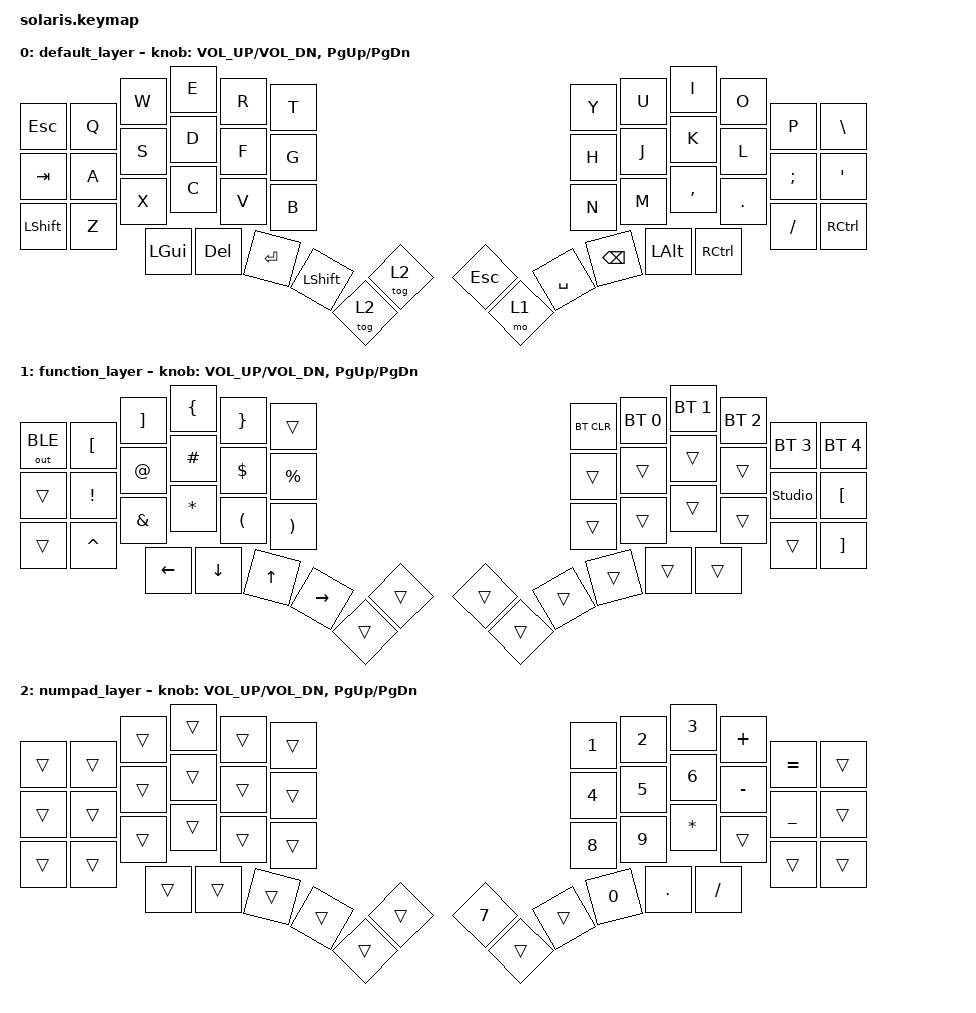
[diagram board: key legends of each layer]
/*
 * Copyright (c) 2023 The ZMK Contributors
 *
 * SPDX-License-Identifier: MIT
 */

#include <behaviors.dtsi>
#include <dt-bindings/zmk/bt.h>
#include <dt-bindings/zmk/keys.h>
#include <dt-bindings/zmk/outputs.h>


/* Uncomment this block if using RGB
&led_strip {
    chain-length = <6>;
    // chain-length = <31>; // Uncomment if using both per-key and underglow LEDs
    // chain-length = <25>; // Uncomment if using only per-key LEDs.
};
 */

/{
    keymap {
        compatible = "zmk,keymap";

        default_layer {
            // ---------------------------------------------------------------------------------------------------------------------------------
            // |  ESC  |  Q  |  W  |  E   |  R   |  T   |                                          |  Y   |  U    |  I    |  O   |   P   |   \  |
            // |  TAB  |  A  |  S  |  D   |  F   |  G   |                                          |  H   |  J    |  K    |  L   |   ;   |   '  |
            // | SHIFT |  Z  |  X  |  C   |  V   |  B   | L SHIFT | L SHIFT |  | LAYER 1 | L SHIFT |  N   |  M    |  ,    |  .   |   /   | CTRL  |
            //                     | GUI  | DEL  | RET  |  SPACE  |   ESC   |  |   RET   |  SPACE  | TAB  | BSPC  | R-ALT |
            bindings = <
                &kp ESC    &kp Q    &kp W    &kp E    &kp R    &kp T                                 &kp Y    &kp U     &kp I    &kp O    &kp P     &kp BSLH
                &kp TAB    &kp A    &kp S    &kp D    &kp F    &kp G                                 &kp H    &kp J     &kp K    &kp L    &kp SEMI  &kp SQT
                &kp LSHFT  &kp Z    &kp X    &kp C    &kp V    &kp B     &tog 2        &kp ESC      &kp N    &kp M    &kp COMMA &kp DOT  &kp FSLH  &kp RCTRL
                                    &kp LGUI &kp DEL &kp RET   &kp LSHFT &tog 2          &mo 1        &kp SPACE  &kp BSPC  &kp LALT &kp RCTRL
            >;

            sensor-bindings = <&inc_dec_kp C_VOL_UP C_VOL_DN &inc_dec_kp PG_UP PG_DN>;
        };

        function_layer {
            // ---------------------------------------------------------------------------------------------------------------------------------
            // |       |      |      |      |      |      |                                          | BT_CLR |BTSEL0|BTSEL1|BTSEL2|BTSEL3|BTSEL4|
            // |       |      |      |      |      |      |                                          |        |      |      |      |      |      |
            // |       |      |      |      |      |      |      |      |      |      |      |      |      |      |      |      |      |      |
            //                       |      |      |      |      |      |      |      |      |      |      |      |      |
            bindings = <
                &out OUT_BLE &kp LBKT &kp RBKT    &kp LBRC  &kp RBRC    &trans                                     &bt BT_CLR &bt BT_SEL 0 &bt BT_SEL 1 &bt BT_SEL 2 &bt BT_SEL 3 &bt BT_SEL 4
                &trans &kp EXCL     &kp AT   &kp HASH  &kp DOLLAR  &kp PERCENT                                     &trans      &trans      &trans       &trans       &studio_unlock       &kp LBKT
                &trans &kp CARET    &kp AMPS &kp STAR  &kp LPAR    &kp RPAR    &trans                    &trans    &trans     &trans       &trans       &trans       &trans       &kp RBKT
                                    &kp LEFT &kp DOWN  &kp UP      &kp RIGHT   &trans                    &trans    &trans     &trans       &trans       &trans
            >;

            sensor-bindings = <&inc_dec_kp C_VOL_UP C_VOL_DN &inc_dec_kp PG_UP PG_DN>;
        };

        numpad_layer {
            // ---------------------------------------------------------------------------------------------------------------------------------
            // |       |      |      |      |      |      |                                          | BT_CLR |BTSEL0|BTSEL1|BTSEL2|BTSEL3|BTSEL4|
            // |       |      |      |      |      |      |                                          |        |      |      |      |      |      |
            // |       |      |      |      |      |      |      |      |      |      |      |      |      |      |      |      |      |      |
            //                       |      |      |      |      |      |      |      |      |      |      |      |      |
            bindings = <
                &trans &trans &trans &trans &trans &trans                                     &kp N1     &kp N2      &kp N3       &kp PLUS       &kp EQUAL    &trans
                &trans &trans &trans &trans  &trans  &trans                                   &kp N4     &kp N5      &kp N6       &kp MINUS      &kp UNDER    &trans
                &trans &trans &trans &trans &trans &trans &trans                              &kp N7     &kp N8      &kp N9       &kp STAR       &trans       &trans    &trans
                                        &trans &trans &trans &trans &trans          &trans    &trans     &kp N0      &kp DOT      &kp FSLH
            >;

            sensor-bindings = <&inc_dec_kp C_VOL_UP C_VOL_DN &inc_dec_kp PG_UP PG_DN>;
        };
    };
};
